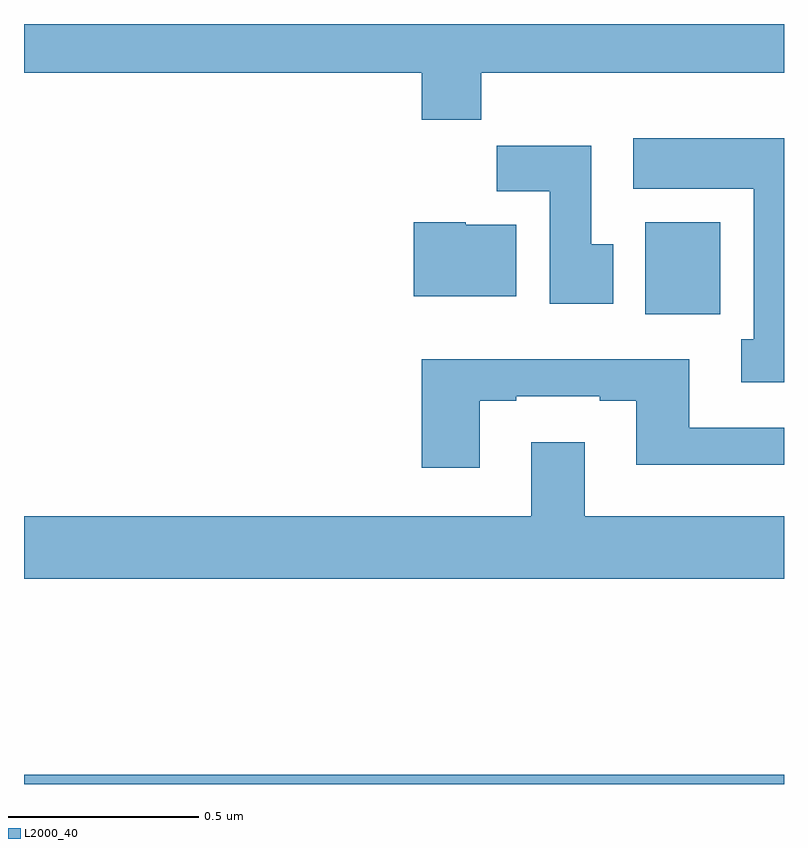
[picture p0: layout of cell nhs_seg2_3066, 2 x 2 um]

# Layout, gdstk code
import gdstk
lib = gdstk.Library(unit=1e-6, precision=1e-09)
def R(c, l, rs):  # rectangles x0, y0, x1, y1
    for r in rs: c.add(gdstk.rectangle(r[:2], r[2:], *l))
def P(c, l, *ps):  # polygons
    for p in ps: c.add(gdstk.Polygon(p, *l))
L2000_40 = (2000, 40)

nhs_seg2_3066 = lib.new_cell('nhs_seg2_3066')
R(nhs_seg2_3066, L2000_40, [(149,609.8,151,609.824), (150.635,611.036,150.832,611.278)])
P(nhs_seg2_3066, L2000_40, [(150.203,611.672),(151,611.672),(151,611.8),(149,611.8),(149,611.672),(150.047,611.672),(150.047,611.548),(150.203,611.548)],
  [(151,611.5),(150.603,611.5),(150.603,611.366),(150.92,611.366),(150.92,610.97),(150.887,610.97),(150.887,610.857),(151,610.857)],
  [(150.55,611.22),(150.493,611.22),(150.493,611.479),(150.244,611.479),(150.244,611.36),(150.383,611.36),(150.383,611.064),(150.55,611.064)],
  [(150.295,611.272),(150.162,611.272),(150.162,611.278),(150.026,611.278),(150.026,611.084),(150.295,611.084)],
  [(150.199,610.809),(150.295,610.809),(150.295,610.821),(150.515,610.821),(150.515,610.809),(150.611,610.809),(150.611,610.64),(151,610.64),(151,610.737),(150.751,610.737),(150.751,610.918),(150.047,610.918),(150.047,610.632),(150.199,610.632)],
  [(151,610.504),(150.475,610.504),(150.475,610.699),(150.335,610.699),(150.335,610.504),(149,610.504),(149,610.34),(151,610.34)])

lib.write_gds('nhs_seg2_3066.gds')
